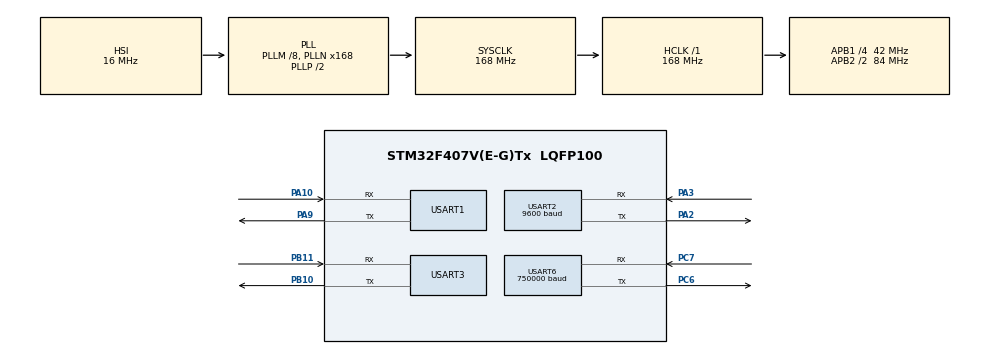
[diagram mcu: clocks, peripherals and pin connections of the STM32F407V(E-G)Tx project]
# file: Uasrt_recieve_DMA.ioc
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Dma.Request0=USART2_RX
Dma.Request1=USART2_TX
Dma.Request2=USART6_RX
Dma.Request3=USART6_TX
Dma.USART2_RX.0.Direction=DMA_PERIPH_TO_MEMORY
Dma.USART2_RX.0.FIFOMode=DMA_FIFOMODE_DISABLE
Dma.USART2_RX.0.Instance=DMA1_Stream5
Dma.USART2_RX.0.MemDataAlignment=DMA_MDATAALIGN_BYTE
Dma.USART2_RX.0.MemInc=DMA_MINC_ENABLE
Dma.USART2_RX.0.Mode=DMA_NORMAL
Dma.USART2_RX.0.PeriphDataAlignment=DMA_PDATAALIGN_BYTE
Dma.USART2_RX.0.PeriphInc=DMA_PINC_DISABLE
Dma.USART2_RX.0.Priority=DMA_PRIORITY_LOW
Dma.USART2_TX.1.Direction=DMA_MEMORY_TO_PERIPH
Dma.USART2_TX.1.FIFOMode=DMA_FIFOMODE_DISABLE
Dma.USART2_TX.1.Instance=DMA1_Stream6
Dma.USART2_TX.1.MemDataAlignment=DMA_MDATAALIGN_BYTE
Dma.USART2_TX.1.MemInc=DMA_MINC_ENABLE
Dma.USART2_TX.1.Mode=DMA_NORMAL
Dma.USART2_TX.1.PeriphDataAlignment=DMA_PDATAALIGN_BYTE
Dma.USART2_TX.1.PeriphInc=DMA_PINC_DISABLE
Dma.USART2_TX.1.Priority=DMA_PRIORITY_LOW
Dma.USART6_RX.2.Direction=DMA_PERIPH_TO_MEMORY
Dma.USART6_RX.2.FIFOMode=DMA_FIFOMODE_DISABLE
Dma.USART6_RX.2.Instance=DMA2_Stream1
Dma.USART6_RX.2.MemDataAlignment=DMA_MDATAALIGN_BYTE
Dma.USART6_RX.2.MemInc=DMA_MINC_ENABLE
Dma.USART6_RX.2.Mode=DMA_NORMAL
Dma.USART6_RX.2.PeriphDataAlignment=DMA_PDATAALIGN_BYTE
Dma.USART6_RX.2.PeriphInc=DMA_PINC_DISABLE
Dma.USART6_RX.2.Priority=DMA_PRIORITY_LOW
Dma.USART6_TX.3.Direction=DMA_MEMORY_TO_PERIPH
Dma.USART6_TX.3.FIFOMode=DMA_FIFOMODE_DISABLE
Dma.USART6_TX.3.Instance=DMA2_Stream6
Dma.USART6_TX.3.MemDataAlignment=DMA_MDATAALIGN_BYTE
Dma.USART6_TX.3.MemInc=DMA_MINC_ENABLE
Dma.USART6_TX.3.Mode=DMA_NORMAL
Dma.USART6_TX.3.PeriphDataAlignment=DMA_PDATAALIGN_BYTE
Dma.USART6_TX.3.PeriphInc=DMA_PINC_DISABLE
Dma.USART6_TX.3.Priority=DMA_PRIORITY_LOW
Mcu.Family=STM32F4
Mcu.Name=STM32F407V(E-G)Tx
Mcu.Package=LQFP100
NVIC.DMA1_Stream5_IRQn=true\:0\:0\:false\:false\:true\:false\:true\:true
NVIC.DMA1_Stream6_IRQn=true\:0\:0\:false\:false\:true\:false\:true\:true
NVIC.DMA2_Stream1_IRQn=true\:0\:0\:false\:false\:true\:false\:true\:true
NVIC.DMA2_Stream6_IRQn=true\:0\:0\:false\:false\:true\:false\:true\:true
NVIC.PriorityGroup=NVIC_PRIORITYGROUP_4
NVIC.TIM1_BRK_TIM9_IRQn=true\:0\:0\:false\:false\:true\:true\:true\:true
NVIC.USART1_IRQn=true\:2\:0\:true\:false\:true\:true\:true\:true
NVIC.USART2_IRQn=true\:1\:0\:true\:false\:true\:true\:true\:true
NVIC.USART3_IRQn=true\:0\:0\:true\:false\:true\:true\:true\:true
NVIC.USART6_IRQn=true\:1\:0\:true\:false\:true\:true\:true\:true
PA10.Mode=Asynchronous
PA10.Signal=USART1_RX
PA13.Mode=Serial_Wire
PA13.Signal=SYS_JTMS-SWDIO
PA14.Mode=Serial_Wire
PA14.Signal=SYS_JTCK-SWCLK
PA2.GPIO_PuPd=GPIO_PULLUP
PA2.Mode=Asynchronous
PA2.Signal=USART2_TX
PA3.GPIO_PuPd=GPIO_PULLUP
PA3.Mode=Asynchronous
PA3.Signal=USART2_RX
PA9.Mode=Asynchronous
PA9.Signal=USART1_TX
PB10.Mode=Asynchronous
PB10.Signal=USART3_TX
PB11.Mode=Asynchronous
PB11.Signal=USART3_RX
PC6.Mode=Asynchronous
PC6.Signal=USART6_TX
PC7.Mode=Asynchronous
PC7.Signal=USART6_RX
PH0-OSC_IN.Mode=HSE-External-Oscillator
PH0-OSC_IN.Signal=RCC_OSC_IN
PH1-OSC_OUT.Mode=HSE-External-Oscillator
PH1-OSC_OUT.Signal=RCC_OSC_OUT
ProjectManager.HeapSize=0x200
ProjectManager.StackSize=0x400
ProjectManager.TargetToolchain=MDK-ARM V5.32
RCC.48MHZClocksFreq_Value=84000000
RCC.AHBFreq_Value=168000000
RCC.APB1CLKDivider=RCC_HCLK_DIV4
RCC.APB1Freq_Value=42000000
RCC.APB1TimFreq_Value=84000000
RCC.APB2CLKDivider=RCC_HCLK_DIV2
RCC.APB2Freq_Value=84000000
RCC.APB2TimFreq_Value=168000000
RCC.CortexFreq_Value=168000000
RCC.HCLKFreq_Value=168000000
RCC.HSE_VALUE=8000000
RCC.HSI_VALUE=16000000
RCC.LSE_VALUE=32768
RCC.PLLM=8
RCC.PLLN=168
RCC.SYSCLKFreq_VALUE=168000000
RCC.SYSCLKSource=RCC_SYSCLKSOURCE_PLLCLK
RCC.VCOOutputFreq_Value=336000000
TIM9.Period=500-1
TIM9.Prescaler=16800-1
USART1.VirtualMode=VM_ASYNC
USART2.BaudRate=9600
USART2.VirtualMode=VM_ASYNC
USART3.VirtualMode=VM_ASYNC
USART6.BaudRate=750000
USART6.VirtualMode=VM_ASYNC
VP_TIM9_VS_ClockSourceINT.Mode=Internal
board=custom

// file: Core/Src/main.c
/* USER CODE BEGIN Header */
/**
  ******************************************************************************
  * @file           : main.c
  * @brief          : Main program body
  ******************************************************************************
  * @attention
  *
  * Copyright (c) 2024 STMicroelectronics.
  * All rights reserved.
  *
  * This software is licensed under terms that can be found in the LICENSE file
  * in the root directory of this software component.
  * If no LICENSE file comes with this software, it is provided AS-IS.
  *
  ******************************************************************************
  */
/* USER CODE END Header */
#include "main.h"
#include "dma.h"
#include "tim.h"
#include "usart.h"
#include "gpio.h"

/* USER CODE BEGIN Includes */
#include <stdio.h>
#include <string.h>
#include <stdlib.h>
#include <stdint.h>
#include "YunTai_UART2.h"
#include "NANO_Tansmit.h"
#include "ChuanKoPing.h"
///////////////////////////

uint8_t Print_ANGLE[20];//接收串口二获取角度
uint8_t NANO_receive_buff[255];
uint8_t ChuanKoPing_receive_buff[9];//串口屏接收数据

////////////////////////////////////
int task,ifstop;
int id0,angle_pich,id1,angle_yaw;

/* USER CODE END Includes */

void SystemClock_Config(void);

int main(void)
{

  /* MCU Configuration--------------------------------------------------------*/

  /* Reset of all peripherals, Initializes the Flash interface and the Systick. */
  HAL_Init();

  /* Configure the system clock */
  SystemClock_Config();

  /* Initialize all configured peripherals */
  MX_GPIO_Init();
  MX_DMA_Init();
  MX_USART1_UART_Init();
  MX_USART2_UART_Init();
  MX_USART6_UART_Init();
  MX_USART3_UART_Init();
  MX_TIM9_Init();
  /* USER CODE BEGIN 2 */

	printf("test");
	HAL_UART_Receive_IT(&huart3, (uint8_t *)ChuanKoPing_receive_buff, sizeof(ChuanKoPing_receive_buff));
	angle_pich=1500;
	angle_yaw=1500;
	HAL_TIM_Base_Start_IT(&htim9);
  /* USER CODE END 2 */

  /* Infinite loop */
  while (1)
  {

    /* USER CODE BEGIN 3 */
		HAL_UART_Receive_DMA(&huart6, (uint8_t*)NANO_receive_buff, 20);
		NANO_recieve();//接收像素坐标
		NANO_send();//发送任务

		send(000,angle_pich,001,angle_yaw);//控制云台
		HAL_UART_Receive_DMA(&huart2, (uint8_t*)Print_ANGLE, 20);
		recieve();//接收位置
		Send_To_ChuankoPing();//串口屏显示角度

		//HAL_UART_Transmit(&huart1,receive_buff,data_length,0x200);
  }
  /* USER CODE END 3 */
}

void SystemClock_Config(void)
{
  RCC_OscInitTypeDef RCC_OscInitStruct = {0};
  RCC_ClkInitTypeDef RCC_ClkInitStruct = {0};

  /** Configure the main internal regulator output voltage
  */
  __HAL_RCC_PWR_CLK_ENABLE();
  __HAL_PWR_VOLTAGESCALING_CONFIG(PWR_REGULATOR_VOLTAGE_SCALE1);

  /** Initializes the RCC Oscillators according to the specified parameters
  * in the RCC_OscInitTypeDef structure.
  */
  RCC_OscInitStruct.OscillatorType = RCC_OSCILLATORTYPE_HSI;
  RCC_OscInitStruct.HSIState = RCC_HSI_ON;
  RCC_OscInitStruct.HSICalibrationValue = RCC_HSICALIBRATION_DEFAULT;
  RCC_OscInitStruct.PLL.PLLState = RCC_PLL_ON;
  RCC_OscInitStruct.PLL.PLLSource = RCC_PLLSOURCE_HSI;
  RCC_OscInitStruct.PLL.PLLM = 8;
  RCC_OscInitStruct.PLL.PLLN = 168;
  RCC_OscInitStruct.PLL.PLLP = RCC_PLLP_DIV2;
  RCC_OscInitStruct.PLL.PLLQ = 4;
  if (HAL_RCC_OscConfig(&RCC_OscInitStruct) != HAL_OK)
  {
    Error_Handler();
  }

  /** Initializes the CPU, AHB and APB buses clocks
  */
  RCC_ClkInitStruct.ClockType = RCC_CLOCKTYPE_HCLK|RCC_CLOCKTYPE_SYSCLK
                              |RCC_CLOCKTYPE_PCLK1|RCC_CLOCKTYPE_PCLK2;
  RCC_ClkInitStruct.SYSCLKSource = RCC_SYSCLKSOURCE_PLLCLK;
  RCC_ClkInitStruct.AHBCLKDivider = RCC_SYSCLK_DIV1;
  RCC_ClkInitStruct.APB1CLKDivider = RCC_HCLK_DIV4;
  RCC_ClkInitStruct.APB2CLKDivider = RCC_HCLK_DIV2;

  if (HAL_RCC_ClockConfig(&RCC_ClkInitStruct, FLASH_LATENCY_5) != HAL_OK)
  {
    Error_Handler();
  }
}

/* USER CODE BEGIN 4 */
#pragma import(__use_no_semihosting)
struct __FILE
{
	int handle;
};
FILE __stdout;
void _sys_exit(int x)
{
	x = x;
}
int fputc(int ch, FILE *f)
{
	HAL_UART_Transmit(&huart1,(uint8_t *)&ch,1,1000);
	return ch;
}

/* USER CODE END 4 */

void Error_Handler(void)
{
  __disable_irq();
  while (1)
  {
  }
}
